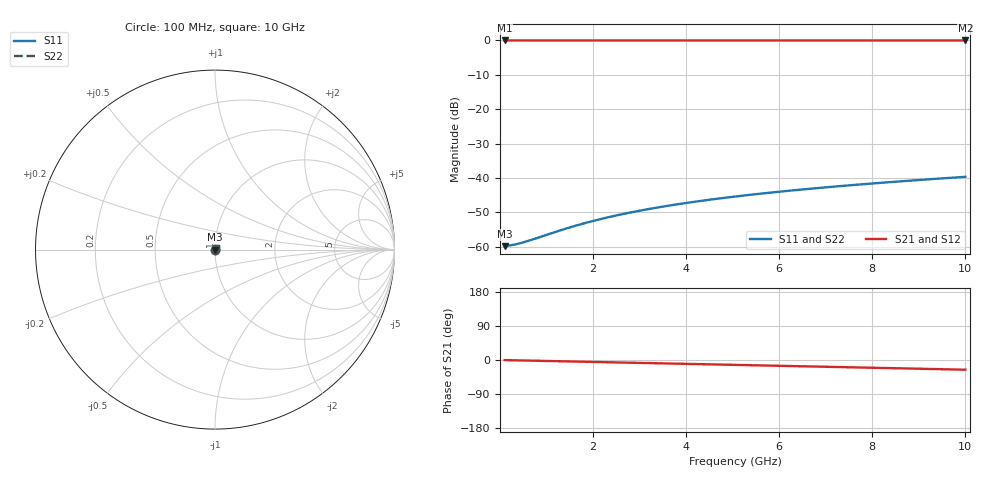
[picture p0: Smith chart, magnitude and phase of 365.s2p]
# Hz S RI R 50.00
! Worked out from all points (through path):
!   100 points, 100 MHz to 10 GHz, reference 50 ohm
!   highest |S21| = -0.01 dB at 100 MHz (marker M1); lowest = 0.0 dB at 10 GHz (marker M2)
!   group delay of S21, straight-line fit = 7.12 ps
!   lowest |S11| = -59.9 dB at 100 MHz (marker M3), VSWR 1.00, Z = 50.1 + j0.0103 ohm
!   |S11| at or under -10 dB: start of sweep to end of sweep
!   |S22| runs from -59.9 to -39.7 dB; largest |S21 - S12| = 0
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1e8  0.00101 0.000103  0.999 -0.00443  0.999 -0.00443  0.00101 0.000103
2e8  0.00102 0.000206  0.9989 -0.00886  0.9989 -0.00886  0.00102 0.000206
3e8  0.00102 0.000309  0.9989 -0.0133  0.9989 -0.0133  0.00102 0.000309
5e8  0.00103 0.000514  0.9987 -0.0221  0.9987 -0.0221  0.00103 0.000514
7e8  0.00104 0.000719  0.9985 -0.031  0.9985 -0.031  0.00104 0.000719
1.2e9  0.00109 0.00123  0.9975 -0.0532  0.9975 -0.0532  0.00109 0.00123
1.4e9  0.00111 0.00143  0.997 -0.062  0.997 -0.062  0.00111 0.00143
1.8e9  0.00117 0.00183  0.9957 -0.0797  0.9957 -0.0797  0.00117 0.00183
2.2e9  0.00124 0.00223  0.9941 -0.0974  0.9941 -0.0974  0.00124 0.00223
2.6e9  0.00133 0.00262  0.9922 -0.1151  0.9922 -0.1151  0.00133 0.00262
3e9  0.00143 0.003  0.99 -0.1327  0.99 -0.1327  0.00143 0.003
3.4e9  0.00154 0.00339  0.9875 -0.1503  0.9875 -0.1503  0.00154 0.00339
3.8e9  0.00166 0.00376  0.9846 -0.1679  0.9846 -0.1679  0.00166 0.00376
4.2e9  0.0018 0.00413  0.9814 -0.1854  0.9814 -0.1854  0.0018 0.00413
4.6e9  0.00195 0.0045  0.978 -0.2029  0.978 -0.2029  0.00195 0.0045
5.1e9  0.00216 0.00494  0.9732 -0.2247  0.9732 -0.2247  0.00216 0.00494
5.9e9  0.00254 0.00564  0.9645 -0.2594  0.9645 -0.2594  0.00254 0.00564
6.7e9  0.00297 0.00632  0.9545 -0.2938  0.9545 -0.2938  0.00297 0.00632
7.5e9  0.00345 0.00697  0.9433 -0.3279  0.9433 -0.3279  0.00345 0.00697
8.4e9  0.00405 0.00769  0.9292 -0.3658  0.9292 -0.3658  0.00405 0.00769
9.2e9  0.00465 0.0083  0.9154 -0.3991  0.9154 -0.3991  0.00465 0.0083
1e10  0.0053 0.00889  0.9003 -0.4319  0.9003 -0.4319  0.0053 0.00889
